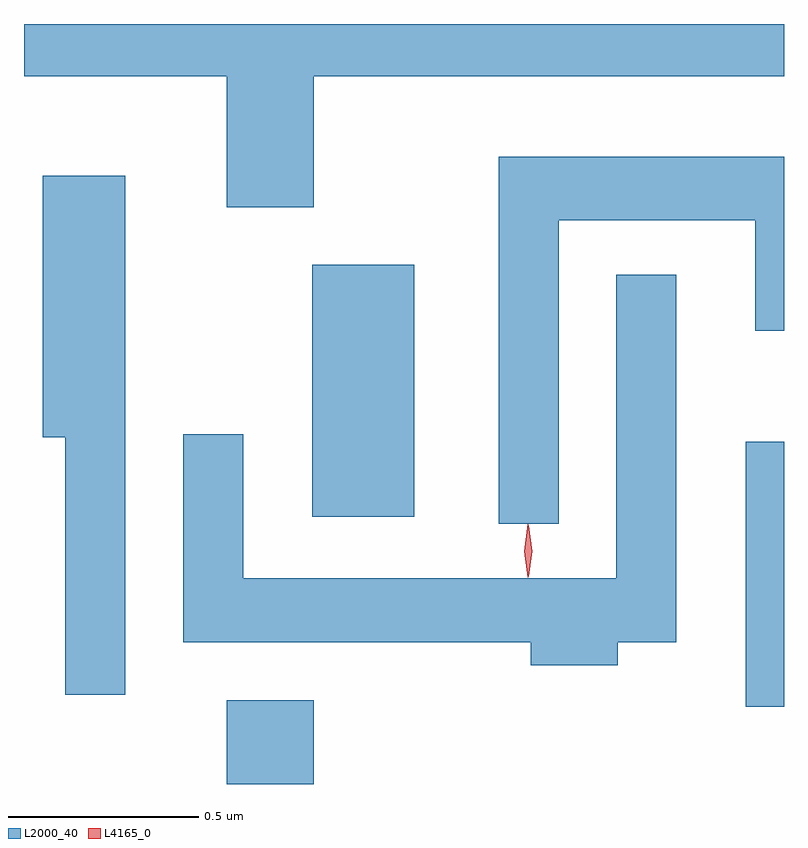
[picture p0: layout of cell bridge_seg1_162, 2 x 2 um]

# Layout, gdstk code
import gdstk
lib = gdstk.Library(unit=1e-6, precision=1e-09)
def R(c, l, rs):  # rectangles x0, y0, x1, y1
    for r in rs: c.add(gdstk.rectangle(r[:2], r[2:], *l))
def P(c, l, *ps):  # polygons
    for p in ps: c.add(gdstk.Polygon(p, *l))
L2000_40 = (2000, 40)
L4165_0 = (4165, 0)

bridge_seg1_162 = lib.new_cell('bridge_seg1_162')
R(bridge_seg1_162, L2000_40, [(803.711,931.013,803.939,931.234), (805.076,931.216,805.177,931.914), (803.936,931.716,804.204,932.379)])
P(bridge_seg1_162, L2000_40, [(803.939,932.876),(805.177,932.876),(805.177,933.013),(803.177,933.013),(803.177,932.876),(803.711,932.876),(803.711,932.531),(803.939,932.531)],
  [(804.584,932.496),(805.101,932.496),(805.101,932.206),(805.177,932.206),(805.177,932.664),(804.426,932.664),(804.426,931.698),(804.584,931.698)],
  [(803.444,932.614),(803.226,932.614),(803.226,931.926),(803.286,931.926),(803.286,931.248),(803.444,931.248)],
  [(804.739,931.386),(804.894,931.386),(804.894,932.353),(804.736,932.353),(804.736,931.554),(803.754,931.554),(803.754,931.933),(803.596,931.933),(803.596,931.386),(804.511,931.386),(804.511,931.326),(804.739,931.326)])
P(bridge_seg1_162, L4165_0, [(804.503,931.557),(804.494,931.626),(804.503,931.696),(804.504,931.696),(804.504,931.696),(804.514,931.626),(804.504,931.557),(804.504,931.557)],
  [(804.504,931.559),(804.504,931.56),(804.494,931.626),(804.504,931.692),(804.504,931.693),(804.505,931.692),(804.514,931.626),(804.505,931.56)])

lib.write_gds('bridge_seg1_162.gds')
